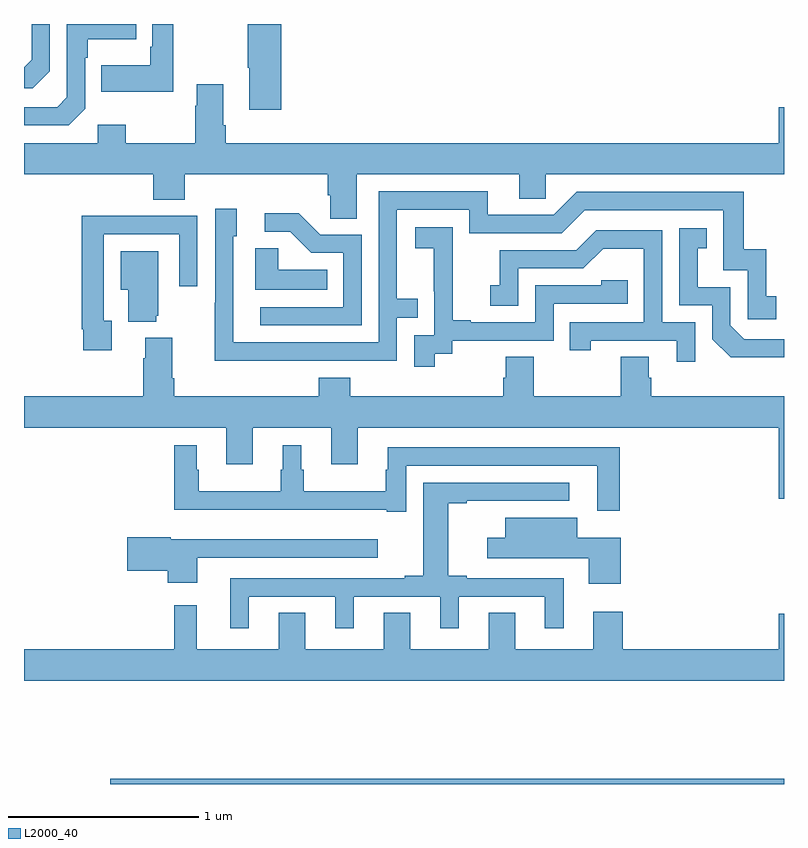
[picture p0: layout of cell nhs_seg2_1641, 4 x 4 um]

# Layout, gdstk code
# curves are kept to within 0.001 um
import gdstk
lib = gdstk.Library(unit=1e-6, precision=1e-09)
def R(c, l, rs):  # rectangles x0, y0, x1, y1
    for r in rs: c.add(gdstk.rectangle(r[:2], r[2:], *l))
def P(c, l, *ps):  # polygons
    for p in ps: c.add(gdstk.Polygon(p, *l))
L2000_40 = (2000, 40)

nhs_seg2_1641 = lib.new_cell('nhs_seg2_1641')
R(nhs_seg2_1641, L2000_40, [(197.453,605.8,201,605.828)])
P(nhs_seg2_1641, L2000_40, [(197.136,609.552),(197.136,609.8),(197.04,609.8),(197.04,609.612),(197,609.572),(197,609.462),(197.046,609.462)],
  [(197.322,609.354),(197.322,609.623),(197.335,609.623),(197.335,609.719),(197.591,609.719),(197.591,609.8),(197.226,609.8),(197.226,609.414),(197.175,609.363),(197,609.363),(197,609.267),(197.235,609.267)],
  [(198.353,609.8),(198.178,609.8),(198.178,609.571),(198.185,609.571),(198.185,609.348),(198.353,609.348)],
  [(197.785,609.8),(197.676,609.8),(197.676,609.679),(197.664,609.679),(197.664,609.583),(197.407,609.583),(197.407,609.443),(197.785,609.443)],
  [(198.751,609.008),(199.607,609.008),(199.607,608.881),(199.746,608.881),(199.746,609.008),(201,609.008),(201,609.361),(200.972,609.361),(200.972,609.172),(198.062,609.172),(198.062,609.268),(198.049,609.268),(198.049,609.484),(197.909,609.484),(197.909,609.371),(197.902,609.371),(197.902,609.172),(197.535,609.172),(197.535,609.271),(197.388,609.271),(197.388,609.172),(197,609.172),(197,609.008),(197.681,609.008),(197.681,608.875),(197.846,608.875),(197.846,609.008),(198.599,609.008),(198.599,608.899),(198.612,608.899),(198.612,608.776),(198.751,608.776)],
  [(198.467,608.028),(198.963,608.028),(198.963,608.253),(199.073,608.253),(199.073,608.354),(198.963,608.354),(198.963,608.823),(199.344,608.823),(199.344,608.7),(199.83,608.7),(199.95,608.82),(200.679,608.82),(200.679,608.505),(200.808,608.505),(200.808,608.247),(200.959,608.247),(200.959,608.367),(200.906,608.367),(200.906,608.614),(200.788,608.614),(200.788,608.916),(199.908,608.916),(199.788,608.796),(199.441,608.796),(199.441,608.919),(198.867,608.919),(198.867,608.124),(198.102,608.124),(198.102,608.682),(198.121,608.682),(198.121,608.827),(198.006,608.827),(198.006,608.333),(198.004,608.333),(198.004,608.027)],
  [(198.777,608.691),(198.558,608.691),(198.445,608.804),(198.267,608.804),(198.267,608.706),(198.401,608.706),(198.512,608.595),(198.681,608.595),(198.681,608.31),(198.243,608.31),(198.243,608.214),(198.777,608.214)],
  [(197.461,608.238),(197.421,608.238),(197.421,608.694),(197.817,608.694),(197.817,608.421),(197.913,608.421),(197.913,608.79),(197.597,608.79),(197.597,608.792),(197.305,608.792),(197.305,608.194),(197.313,608.194),(197.313,608.082),(197.461,608.082)],
  [(199.162,608.065),(199.254,608.065),(199.254,608.133),(199.788,608.133),(199.788,608.328),(200.177,608.328),(200.177,608.451),(200.037,608.451),(200.037,608.424),(199.692,608.424),(199.692,608.229),(199.351,608.229),(199.351,608.242),(199.256,608.242),(199.256,608.525),(199.257,608.525),(199.257,608.731),(199.059,608.731),(199.059,608.621),(199.157,608.621),(199.157,608.393),(199.158,608.393),(199.158,608.163),(199.053,608.163),(199.053,607.995),(199.162,607.995)],
  [(201,608.142),(200.79,608.142),(200.718,608.214),(200.718,608.415),(200.545,608.415),(200.545,608.619),(200.594,608.619),(200.594,608.725),(200.448,608.725),(200.448,608.319),(200.622,608.319),(200.622,608.142),(200.72,608.045),(201,608.045)],
  [(200.532,608.229),(200.358,608.229),(200.358,608.715),(200.012,608.715),(199.907,608.61),(199.504,608.61),(199.504,608.425),(199.455,608.425),(199.455,608.316),(199.602,608.316),(199.602,608.514),(199.944,608.514),(200.048,608.618),(200.262,608.618),(200.262,608.229),(199.873,608.229),(199.873,608.082),(199.984,608.082),(199.984,608.133),(200.435,608.133),(200.435,608.022),(200.532,608.022)],
  [(198.596,608.506),(198.339,608.506),(198.339,608.621),(198.218,608.621),(198.218,608.402),(198.596,608.402)],
  [(197.696,608.265),(197.707,608.265),(197.707,608.605),(197.51,608.605),(197.51,608.402),(197.549,608.402),(197.549,608.234),(197.696,608.234)],
  [(201,607.84),(200.3,607.84),(200.3,607.938),(200.287,607.938),(200.287,608.048),(200.14,608.048),(200.14,607.84),(199.683,607.84),(199.683,608.048),(199.535,608.048),(199.535,607.938),(199.523,607.938),(199.523,607.84),(198.716,607.84),(198.716,607.939),(198.551,607.939),(198.551,607.84),(197.792,607.84),(197.792,607.936),(197.779,607.936),(197.779,608.149),(197.639,608.149),(197.639,608.042),(197.627,608.042),(197.627,607.84),(197,607.84),(197,607.676),(198.065,607.676),(198.065,607.482),(198.205,607.482),(198.205,607.676),(198.617,607.676),(198.617,607.482),(198.757,607.482),(198.757,607.676),(200.972,607.676),(200.972,607.302),(201,607.302)],
  [(199.011,607.476),(200.018,607.476),(200.018,607.239),(200.135,607.239),(200.135,607.572),(198.914,607.572),(198.914,607.454),(198.903,607.454),(198.903,607.342),(198.472,607.342),(198.472,607.454),(198.46,607.454),(198.46,607.582),(198.362,607.582),(198.362,607.454),(198.351,607.454),(198.351,607.342),(197.92,607.342),(197.92,607.454),(197.908,607.454),(197.908,607.582),(197.791,607.582),(197.791,607.244),(198.908,607.244),(198.908,607.233),(199.011,607.233)],
  [(198.184,606.786),(198.638,606.786),(198.638,606.621),(198.736,606.621),(198.736,606.786),(199.19,606.786),(199.19,606.621),(199.288,606.621),(199.288,606.786),(199.742,606.786),(199.742,606.621),(199.84,606.621),(199.84,606.882),(199.33,606.882),(199.33,606.895),(199.234,606.895),(199.234,607.278),(199.33,607.278),(199.33,607.29),(199.87,607.29),(199.87,607.386),(199.1,607.386),(199.1,606.895),(199.004,606.895),(199.004,606.882),(198.086,606.882),(198.086,606.621),(198.184,606.621)],
  [(200.14,607.096),(199.912,607.096),(199.912,607.201),(199.532,607.201),(199.532,607.096),(199.437,607.096),(199.437,606.989),(199.973,606.989),(199.973,606.855),(200.14,606.855)],
  [(197.911,606.99),(198.862,606.99),(198.862,607.087),(197.772,607.087),(197.772,607.1),(197.544,607.1),(197.544,606.922),(197.756,606.922),(197.756,606.858),(197.911,606.858)],
  [(201,606.697),(200.972,606.697),(200.972,606.508),(200.15,606.508),(200.15,606.706),(199.997,606.706),(199.997,606.508),(199.585,606.508),(199.585,606.701),(199.445,606.701),(199.445,606.508),(199.033,606.508),(199.033,606.701),(198.893,606.701),(198.893,606.508),(198.481,606.508),(198.481,606.701),(198.341,606.701),(198.341,606.508),(197.909,606.508),(197.909,606.742),(197.791,606.742),(197.791,606.508),(197,606.508),(197,606.344),(201,606.344)])

lib.write_gds('nhs_seg2_1641.gds')
